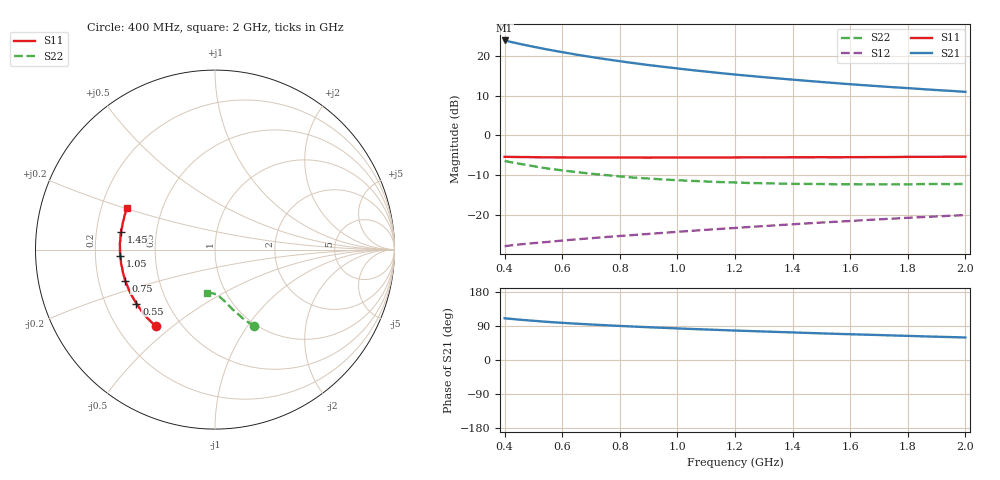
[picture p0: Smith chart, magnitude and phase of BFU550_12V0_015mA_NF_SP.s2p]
! Filename:  P:\Prog\Test\Noise\ATS_data\Testdata_Net\06 Compressed Noise after Statistics\BFU550_APG2013_43_D05_12p0V_015mA_NF_CM01_D.sf
! Date/Time: Fri 26/Apr/2013 13:07:25
! BFU550_APG2013_43_D05_12p0V_1to35mA_NF_CM01_Bias6_R.sf
! Noise Parameter Data File
! BFU550_APG2013_43_D05_12p0V_1to35mA_NF_CM01
! Date/time: Thu Apr 25 18:42:45 2013
! VAR V_out= 12.001000
! VAR I_out= 15.005000
! VAR V_in= 0.792800
! VAR I_in= 0.142800
! Device data file deembeded for feedlines and parallel
! Original file: \06 Compressed Noise after Statistics\BFU550_APG2013_43_D05_12p0V_015mA_NF_CM01_R.sf
! Feed-files: PR047V01_250413_Feed1.s2p, PR047V01_250413_Feed2.s2p
! Parallel-file: PR047V01_250413_Par.s2p
# MHz S MA R 50
!  Freq-MHz  S11-mag  S11-arg  S21-mag  S21-arg  S12-mag  S12-arg  S22-mag  S22-arg
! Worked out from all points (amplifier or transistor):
!   37 points, 400 MHz to 2 GHz, reference 50 ohm
!   highest |S21| = 23.8 dB at 400 MHz (marker M1)
!   |S21| within 3 dB of that: start of sweep to 605.6 MHz
!   unconditionally stable (mu >= 1): 1.56 GHz to end of sweep
!   at 500 MHz: K = 0.58, MSG = 24.6 dB, |S12| = -27.0 dB
!   at 1.1 GHz: K = 0.90, MSG = 19.9 dB, |S12| = -23.7 dB
!   at 2 GHz: K = 1.05, MAG = 14.1 dB, |S12| = -20.0 dB
!   lowest NFmin = 0.91 dB at 460 MHz
!   S11 on the Smith chart (normalised r, x): 400 MHz: 0.36, -0.44; 550 MHz: 0.33, -0.28; 750 MHz: 0.32, -0.15; 1.05 GHz: 0.31, -0.03; 1.45 GHz: 0.31, +0.08; 2 GHz: 0.31, +0.21
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400  0.5395 -127.8  15.56 110.1  0.04081 48.0  0.4782 -62.7
433  0.5368 -132.3  14.6 107.8  0.04217 47.6  0.4537 -64.7
460  0.5356 -135.7  13.9 105.9  0.04317 47.3  0.4364 -66.1
500  0.5336 -140.2  12.97 103.5  0.04458 47.1  0.4121 -68.0
550  0.5309 -145.5  11.96 100.6  0.04612 47.2  0.3843 -70.0
600  0.5301 -149.8  11.1 98.1  0.048 47.3  0.3644 -72.0
650  0.5296 -153.8  10.33 95.8  0.0497 47.5  0.3469 -73.7
700  0.5286 -157.2  9.655 93.7  0.05137 47.8  0.3313 -75.0
750  0.5291 -160.6  9.067 91.8  0.0531 48.1  0.3184 -76.5
800  0.5284 -163.5  8.545 89.9  0.05477 48.5  0.3068 -77.9
850  0.5286 -166.3  8.071 88.2  0.0564 48.9  0.2956 -79.0
900  0.5271 -169.1  7.646 86.5  0.05817 49.4  0.288 -80.2
950  0.5292 -171.3  7.276 84.9  0.05995 49.8  0.2807 -81.4
1050  0.5287 -176.0  6.611 81.9  0.06358 50.5  0.2692 -83.4
1150  0.5292 -179.9  6.057 79.1  0.06726 51.0  0.2597 -85.3
1200  0.5299 178.1  5.814 77.7  0.06909 51.3  0.2569 -86.4
1300  0.5305 174.6  5.383 75.2  0.07292 51.8  0.2513 -88.1
1450  0.5325 169.5  4.845 71.5  0.07877 52.2  0.2466 -90.8
1500  0.5337 168.0  4.686 70.3  0.08074 52.3  0.2459 -91.8
1600  0.5339 164.8  4.391 68.0  0.08446 52.5  0.2446 -93.5
1750  0.536 160.7  4.025 64.7  0.09044 52.6  0.2437 -96.3
2000  0.5406 154.5  3.524 59.4  0.1001 52.5  0.2466 -100.6
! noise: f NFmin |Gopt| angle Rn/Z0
400  0.9383  0.1691  173.1  0.0851
460  0.9082  0.1747  174.6  0.0816
600  0.9275  0.1857  177.1  0.0765
800  0.9795  0.2039  -179.8  0.0774
1000  0.9988  0.2199  -178.5  0.0761
1200  1.033  0.2515  -176.8  0.0711
1400  1.046  0.2664  -173.6  0.0725
1600  1.092  0.2924  -170.1  0.0693
1800  1.096  0.3168  -168.4  0.0675
2000  1.132  0.3437  -166.1  0.0696
